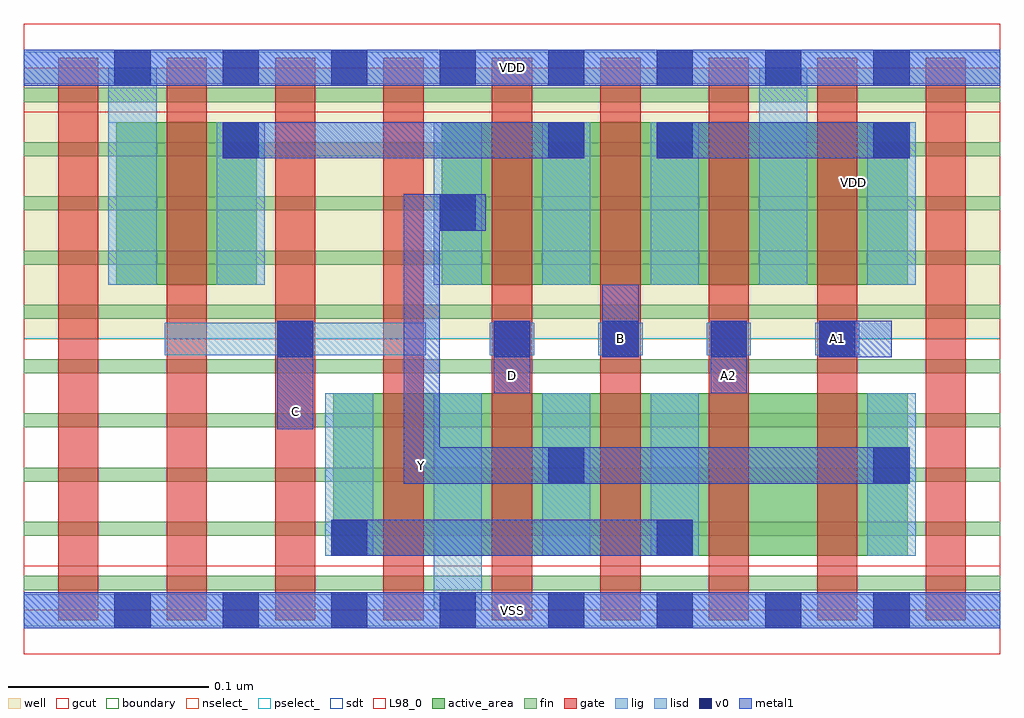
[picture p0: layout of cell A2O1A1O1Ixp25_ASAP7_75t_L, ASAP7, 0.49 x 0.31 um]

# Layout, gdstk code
import gdstk
lib = gdstk.Library(unit=1e-6, precision=2.5e-10)
def R(c, l, rs):  # rectangles x0, y0, x1, y1
    for r in rs: c.add(gdstk.rectangle(r[:2], r[2:], *l))
def A(c, l, x, y, w, h, nx, ny, dx, dy):  # array of equal rectangles
    R(c, l, [(x+i*dx, y+j*dy, x+i*dx+w, y+j*dy+h) for i in range(nx) for j in range(ny)])
def P(c, l, *ps):  # polygons
    for p in ps: c.add(gdstk.Polygon(p, *l))
well = (1, 0)
fin = (2, 0)
gate = (7, 0)
gcut = (10, 0)
active_area = (11, 0)
nselect_ = (12, 0)
pselect_ = (13, 0)
lig = (16, 0)
lisd = (17, 0)
v0 = (18, 0)
metal1 = (19, 0)
sdt = (88, 0)
L98_0 = (98, 0)
boundary = (100, 0)

a2o1a1o1ixp25_asap7_75t_ = lib.new_cell('A2O1A1O1Ixp25_ASAP7_75t_L')
R(a2o1a1o1ixp25_asap7_75t_, well, [(0,0.135,0.486,0.27)])
A(a2o1a1o1ixp25_asap7_75t_, fin, 0, 0.01, 0.486, 0.007, 1, 10, 0, 0.027)
A(a2o1a1o1ixp25_asap7_75t_, gate, 0.017, -0.005, 0.02, 0.28, 9, 1, 0.054, 0)
R(a2o1a1o1ixp25_asap7_75t_, gcut, [(0,-0.022,0.486,0.022), (0,0.248,0.486,0.292)])
R(a2o1a1o1ixp25_asap7_75t_, active_area, [(0.154,0.027,0.44,0.108), (0.046,0.162,0.116,0.243), (0.208,0.162,0.44,0.243)])
R(a2o1a1o1ixp25_asap7_75t_, nselect_, [(0,0,0.486,0.135)])
R(a2o1a1o1ixp25_asap7_75t_, pselect_, [(0,0.135,0.486,0.27)])
A(a2o1a1o1ixp25_asap7_75t_, lig, 0.232, 0.127, 0.022, 0.016, 4, 1, 0.054, 0)
R(a2o1a1o1ixp25_asap7_75t_, lig, [(0,-0.008,0.486,0.008), (0.07,0.127,0.2,0.143), (0,0.262,0.486,0.278)])
A(a2o1a1o1ixp25_asap7_75t_, lisd, 0.204, 0.162, 0.024, 0.081, 3, 1, 0.054, 0)
R(a2o1a1o1ixp25_asap7_75t_, lisd, [(0.204,0,0.228,0.108), (0.15,0.027,0.174,0.108), (0.258,0.027,0.282,0.108), (0.312,0.027,0.336,0.108), (0.42,0.027,0.444,0.108), (0.042,0.162,0.066,0.27), (0.096,0.162,0.12,0.243), (0.366,0.162,0.39,0.27), (0.42,0.162,0.444,0.243)])
A(a2o1a1o1ixp25_asap7_75t_, v0, 0.045, -0.009, 0.018, 0.018, 8, 2, 0.054, 0.27)
A(a2o1a1o1ixp25_asap7_75t_, v0, 0.234, 0.126, 0.018, 0.018, 4, 1, 0.054, 0)
R(a2o1a1o1ixp25_asap7_75t_, v0, [(0.153,0.027,0.171,0.045), (0.315,0.027,0.333,0.045), (0.261,0.063,0.279,0.081), (0.423,0.063,0.441,0.081), (0.126,0.126,0.144,0.144), (0.207,0.189,0.225,0.207), (0.099,0.225,0.117,0.243), (0.261,0.225,0.279,0.243), (0.315,0.225,0.333,0.243), (0.423,0.225,0.441,0.243)])
R(a2o1a1o1ixp25_asap7_75t_, metal1, [(0,-0.009,0.486,0.009), (0.153,0.027,0.333,0.045), (0.126,0.09,0.144,0.144), (0.234,0.108,0.252,0.144), (0.342,0.108,0.36,0.144), (0.288,0.126,0.306,0.162), (0.396,0.126,0.432,0.144), (0.099,0.225,0.279,0.243), (0.315,0.225,0.441,0.243), (0,0.261,0.486,0.279)])
P(a2o1a1o1ixp25_asap7_75t_, metal1, [(0.189,0.063),(0.189,0.207),(0.23,0.207),(0.23,0.189),(0.207,0.189),(0.207,0.081),(0.441,0.081),(0.441,0.063)])
A(a2o1a1o1ixp25_asap7_75t_, sdt, 0.15, 0.027, 0.024, 0.081, 4, 1, 0.054, 0)
A(a2o1a1o1ixp25_asap7_75t_, sdt, 0.204, 0.162, 0.024, 0.081, 5, 1, 0.054, 0)
R(a2o1a1o1ixp25_asap7_75t_, sdt, [(0.42,0.027,0.444,0.108), (0.042,0.162,0.066,0.243), (0.096,0.162,0.12,0.243)])
R(a2o1a1o1ixp25_asap7_75t_, L98_0, [(0,0,0.486,0.27)])
R(a2o1a1o1ixp25_asap7_75t_, boundary, [(0,0,0.486,0.27)])
a2o1a1o1ixp25_asap7_75t_.add(gdstk.Label('Y', (0.198,0.072), layer=19, texttype=251))
a2o1a1o1ixp25_asap7_75t_.add(gdstk.Label('D', (0.243,0.117), layer=19, texttype=251))
a2o1a1o1ixp25_asap7_75t_.add(gdstk.Label('C', (0.135,0.099), layer=19, texttype=251))
a2o1a1o1ixp25_asap7_75t_.add(gdstk.Label('B', (0.297,0.135), layer=19, texttype=251))
a2o1a1o1ixp25_asap7_75t_.add(gdstk.Label('A2', (0.351,0.117), layer=19, texttype=251))
a2o1a1o1ixp25_asap7_75t_.add(gdstk.Label('A1', (0.405,0.135), layer=19, texttype=251))
a2o1a1o1ixp25_asap7_75t_.add(gdstk.Label('VSS', (0.243,0), layer=19, texttype=251))
a2o1a1o1ixp25_asap7_75t_.add(gdstk.Label('VDD', (0.243,0.27), layer=19, texttype=251))
a2o1a1o1ixp25_asap7_75t_.add(gdstk.Label('VDD', (0.413,0.213), layer=1, texttype=251))
a2o1a1o1ixp25_asap7_75t_.add(gdstk.Label('VSS', (0.559,0.213), layer=3, texttype=251))

lib.write_gds('A2O1A1O1Ixp25_ASAP7_75t_L.gds')
